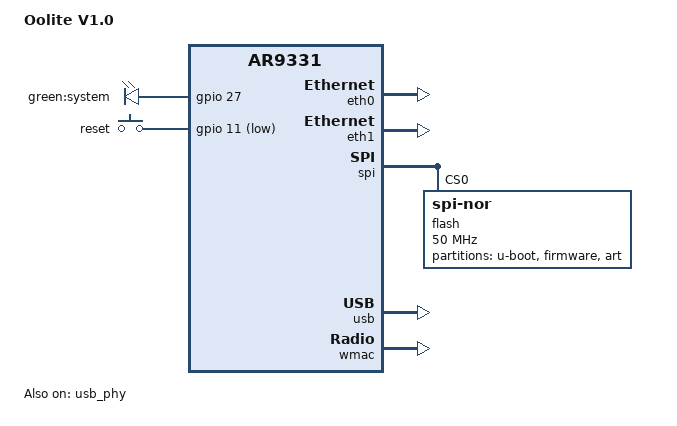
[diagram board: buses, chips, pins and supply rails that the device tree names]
// SPDX-License-Identifier: GPL-2.0-or-later OR MIT

#include "ar9331.dtsi"

#include <dt-bindings/gpio/gpio.h>
#include <dt-bindings/input/input.h>

/ {
	model = "Oolite V1.0";
	compatible = "gainstrong,oolite-v1.0", "qca,ar9331";

	aliases {
		label-mac-device = &wmac;
		led-boot = &led_system;
		led-failsafe = &led_system;
		led-upgrade = &led_system;
	};

	leds {
		compatible = "gpio-leds";
		pinctrl-names = "default";
		pinctrl-0 = <&switch_led_disable_pins>;

		led_system: system {
			label = "green:system";
			gpios = <&gpio 27 GPIO_ACTIVE_HIGH>;
		};
	};

	keys {
		compatible = "gpio-keys";

		reset {
			label = "reset";
			linux,code = <KEY_RESTART>;
			gpios = <&gpio 11 GPIO_ACTIVE_LOW>;
		};
	};
};

&eth0 {
	status = "okay";

	nvmem-cells = <&macaddr_art_0>;
	nvmem-cell-names = "mac-address";
    mac-address-increment = <1>;
};

&eth1 {
	status = "okay";

	nvmem-cells = <&macaddr_art_6>;
	nvmem-cell-names = "mac-address";
};

&spi {
	status = "okay";

	flash@0 {
		compatible = "jedec,spi-nor";
		reg = <0>;
		spi-max-frequency = <50000000>;
		m25p,fast-read;

		partitions {
			compatible = "fixed-partitions";
			#address-cells = <1>;
			#size-cells = <1>;

			partition@0 {
				label = "u-boot";
				reg = <0x000000 0x020000>;
				read-only;
			};

			partition@20000 {
				label = "firmware";
				reg = <0x020000 0xfd0000>;
				compatible = "tplink,firmware";
			};

			art: partition@ff0000 {
				label = "art";
				reg = <0xff0000 0x010000>;
				read-only;

				nvmem-layout {
					compatible = "fixed-layout";
					#address-cells = <1>;
					#size-cells = <1>;

					macaddr_art_0: macaddr@0 {
						reg = <0x0 0x6>;
					};

					macaddr_art_6: macaddr@6 {
						reg = <0x6 0x6>;
					};

					cal_art_1000: calibration@1000 {
						reg = <0x1000 0x440>;
					};
				};
			};
		};
	};
};

&usb {
	status = "okay";
};

&usb_phy {
	dr_mode = "host";
	status = "okay";
};

&wmac {
	status = "okay";
	nvmem-cells = <&macaddr_art_0>, <&cal_art_1000>;
	nvmem-cell-names = "mac-address", "calibration";
};


